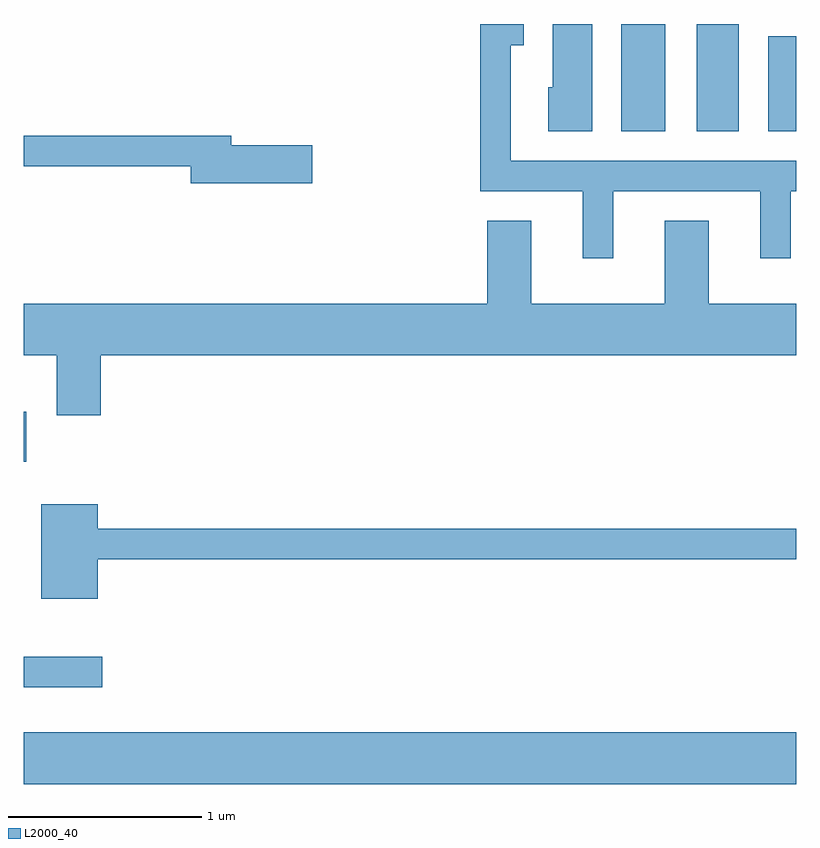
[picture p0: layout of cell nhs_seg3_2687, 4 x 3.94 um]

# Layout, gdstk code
import gdstk
lib = gdstk.Library(unit=1e-6, precision=1e-09)
def R(c, l, rs):  # rectangles x0, y0, x1, y1
    for r in rs: c.add(gdstk.rectangle(r[:2], r[2:], *l))
def P(c, l, *ps):  # polygons
    for p in ps: c.add(gdstk.Polygon(p, *l))
L2000_40 = (2000, 40)

nhs_seg3_2687 = lib.new_cell('nhs_seg3_2687')
R(nhs_seg3_2687, L2000_40, [(263.611,1185.956,267.611,1186.224), (263.611,1186.456,264.018,1186.614), (263.611,1187.626,263.624,1187.884), (266.706,1189.336,266.934,1189.892), (267.096,1189.336,267.314,1189.892), (267.466,1189.336,267.611,1189.829)])
P(nhs_seg3_2687, L2000_40, [(266.664,1189.026),(267.426,1189.026),(267.426,1188.678),(267.584,1188.678),(267.584,1189.026),(267.611,1189.026),(267.611,1189.184),(266.134,1189.184),(266.134,1189.781),(266.199,1189.781),(266.199,1189.892),(265.976,1189.892),(265.976,1189.026),(266.506,1189.026),(266.506,1188.678),(266.664,1188.678)],
  [(266.554,1189.892),(266.351,1189.892),(266.351,1189.564),(266.326,1189.564),(266.326,1189.336),(266.554,1189.336)],
  [(265.104,1189.264),(264.684,1189.264),(264.684,1189.314),(263.611,1189.314),(263.611,1189.156),(264.476,1189.156),(264.476,1189.066),(265.104,1189.066)],
  [(264.009,1188.176),(267.611,1188.176),(267.611,1188.444),(267.159,1188.444),(267.159,1188.874),(266.931,1188.874),(266.931,1188.444),(266.239,1188.444),(266.239,1188.874),(266.011,1188.874),(266.011,1188.444),(263.611,1188.444),(263.611,1188.176),(263.781,1188.176),(263.781,1187.866),(264.009,1187.866)],
  [(263.994,1187.121),(267.611,1187.121),(267.611,1187.279),(263.994,1187.279),(263.994,1187.404),(263.701,1187.404),(263.701,1186.916),(263.994,1186.916)])

lib.write_gds('nhs_seg3_2687.gds')
